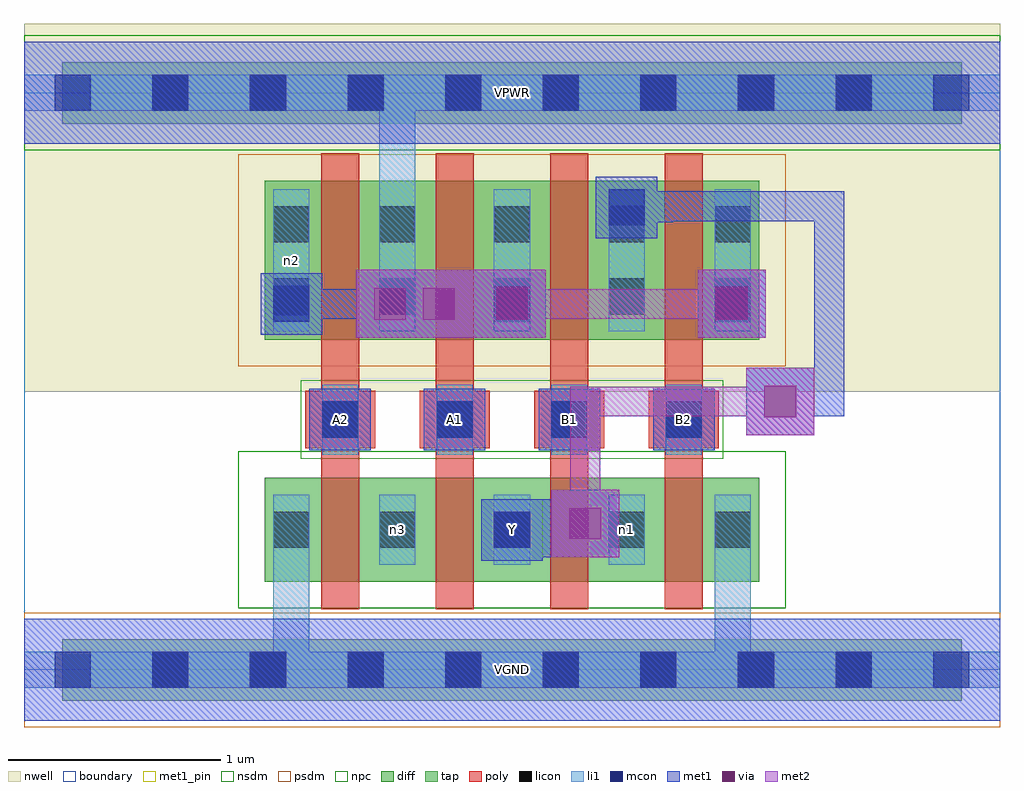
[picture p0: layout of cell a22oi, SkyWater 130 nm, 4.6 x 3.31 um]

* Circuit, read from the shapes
.subckt a22oi A1 A2 B1 B2 VGND VPWR Y n1 n2 n3
XM1 n3 A2 VGND VGND sky130_fd_pr__nfet_01v8 w=0.49 l=0.18
XM2 Y A1 n3 VGND sky130_fd_pr__nfet_01v8 w=0.49 l=0.18
XM3 n1 B1 Y VGND sky130_fd_pr__nfet_01v8 w=0.49 l=0.18
XM4 VGND B2 n1 VGND sky130_fd_pr__nfet_01v8 w=0.49 l=0.18
XM5 VPWR A2 n2 VPWR sky130_fd_pr__pfet_01v8 w=0.75 l=0.18
XM6 n2 A1 VPWR VPWR sky130_fd_pr__pfet_01v8 w=0.75 l=0.18
XM7 Y B1 n2 VPWR sky130_fd_pr__pfet_01v8 w=0.75 l=0.18
XM8 n2 B2 Y VPWR sky130_fd_pr__pfet_01v8 w=0.75 l=0.18
.ends

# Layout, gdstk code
import gdstk
lib = gdstk.Library(unit=1e-6, precision=1e-09)
def R(c, l, rs):  # rectangles x0, y0, x1, y1
    for r in rs: c.add(gdstk.rectangle(r[:2], r[2:], *l))
def A(c, l, x, y, w, h, nx, ny, dx, dy):  # array of equal rectangles
    R(c, l, [(x+i*dx, y+j*dy, x+i*dx+w, y+j*dy+h) for i in range(nx) for j in range(ny)])
nwell = (64, 20)
diff = (65, 20)
tap = (65, 44)
poly = (66, 20)
licon = (66, 44)
li1 = (67, 20)
mcon = (67, 44)
met1_pin = (68, 16)
met1 = (68, 20)
via = (68, 44)
met2 = (69, 20)
nsdm = (93, 44)
psdm = (94, 20)
npc = (95, 20)
boundary = (235, 4)

a22oi = lib.new_cell('a22oi')
R(a22oi, nwell, [(0,1.31,4.6,3.045)])
R(a22oi, diff, [(1.135,0.415,3.465,0.905), (1.135,1.555,3.465,2.305)])
R(a22oi, tap, [(0.18,-0.145,4.42,0.145), (0.18,2.575,4.42,2.865)])
A(a22oi, poly, 1.4, 0.285, 0.18, 2.15, 4, 1, 0.54, 0)
A(a22oi, poly, 1.325, 1.045, 0.33, 0.27, 4, 1, 0.54, 0)
A(a22oi, licon, 0.605, -0.085, 0.17, 0.17, 8, 2, 0.46, 2.72)
A(a22oi, licon, 1.675, 0.575, 0.17, 0.17, 3, 2, 0.54, 1.1)
A(a22oi, licon, 1.405, 1.095, 0.17, 0.17, 4, 1, 0.54, 0)
A(a22oi, licon, 1.675, 2.015, 0.17, 0.17, 3, 1, 0.54, 0)
R(a22oi, licon, [(1.175,0.575,1.345,0.745), (3.255,0.575,3.425,0.745), (1.175,1.675,1.345,1.845), (3.255,1.675,3.425,1.845), (1.175,2.015,1.345,2.185), (3.255,2.015,3.425,2.185)])
A(a22oi, li1, 1.675, 0.495, 0.17, 0.33, 3, 1, 0.54, 0)
A(a22oi, li1, 1.405, 1.015, 0.17, 0.33, 4, 1, 0.54, 0)
A(a22oi, li1, 1.675, 1.595, 0.17, 0.67, 3, 1, 0.54, 0)
R(a22oi, li1, [(0,-0.085,4.6,0.085), (1.175,-0.085,1.345,0.825), (3.255,-0.085,3.425,0.825), (1.175,0.495,1.345,0.825), (3.255,0.495,3.425,0.825), (1.175,1.595,1.345,2.265), (1.675,1.595,1.845,2.805), (3.255,1.595,3.425,2.265), (0,2.635,4.6,2.805)])
A(a22oi, mcon, 0.145, -0.085, 0.17, 0.17, 10, 2, 0.46, 2.72)
A(a22oi, mcon, 1.405, 1.095, 0.17, 0.17, 4, 1, 0.54, 0)
A(a22oi, mcon, 1.175, 1.64, 0.17, 0.17, 3, 1, 1.04, 0)
R(a22oi, mcon, [(2.215,0.575,2.385,0.745), (2.755,2.095,2.925,2.265)])
A(a22oi, met1_pin, 1.345, 1.035, 0.29, 0.29, 4, 1, 0.54, 0)
R(a22oi, met1_pin, [(0,-0.24,4.6,0.24), (2.155,0.515,2.445,0.805), (0,2.48,4.6,2.96)])
A(a22oi, met1, 1.345, 1.035, 0.29, 0.29, 4, 1, 0.54, 0)
A(a22oi, met1, 1.115, 1.58, 0.29, 0.29, 3, 1, 1.04, 0)
R(a22oi, met1, [(0,-0.24,4.6,0.24), (2.155,0.515,2.445,0.805), (2.445,0.53,2.485,0.805), (2.485,0.53,2.805,0.85), (2.23,0.62,2.715,0.76), (2.23,0.62,2.37,0.76), (3.405,1.105,3.725,1.425), (3.495,1.195,3.865,1.335), (3.725,1.195,3.865,2.255), (1.565,1.565,1.885,1.885), (1.795,1.565,2.115,1.885), (2.115,1.565,2.14,1.885), (2.14,1.565,2.46,1.885), (3.175,1.565,3.495,1.885), (2.115,1.58,2.155,1.87), (1.19,1.655,1.45,1.795), (1.31,1.655,1.795,1.795), (1.885,1.655,2.37,1.795), (3.265,1.655,3.41,1.795), (2.695,2.035,2.985,2.325), (2.77,2.11,3.06,2.25), (2.92,2.11,3.06,2.255), (2.92,2.115,3.865,2.255), (0,2.48,4.6,2.96)])
R(a22oi, via, [(2.57,0.615,2.72,0.765), (3.49,1.19,3.64,1.34), (1.65,1.65,1.8,1.8), (1.88,1.65,2.03,1.8), (2.225,1.65,2.375,1.8), (3.26,1.65,3.41,1.8)])
R(a22oi, met2, [(2.485,0.53,2.805,0.85), (2.575,0.62,2.715,1.335), (3.405,1.105,3.725,1.425), (2.575,1.195,3.635,1.335), (1.565,1.565,1.885,1.885), (1.795,1.565,2.115,1.885), (2.115,1.565,2.14,1.885), (2.14,1.565,2.46,1.885), (3.175,1.565,3.495,1.885), (1.655,1.655,2.025,1.795), (2.025,1.655,2.14,1.795), (2.115,1.655,2.23,1.795), (2.23,1.655,3.405,1.795)])
R(a22oi, nsdm, [(1.01,0.29,3.59,1.03), (0,2.45,4.6,2.99)])
R(a22oi, psdm, [(0,-0.27,4.6,0.27), (1.01,1.43,3.59,2.43)])
R(a22oi, npc, [(1.305,0.995,3.295,1.365)])
R(a22oi, boundary, [(0,0,4.6,2.72)])
a22oi.add(gdstk.Label('n3', (1.76,0.66), layer=67, texttype=5))
a22oi.add(gdstk.Label('n1', (2.84,0.66), layer=67, texttype=5))
a22oi.add(gdstk.Label('n2', (1.26,1.93), layer=67, texttype=5))
a22oi.add(gdstk.Label('A1', (2.03,1.18), layer=68, texttype=5))
a22oi.add(gdstk.Label('A2', (1.49,1.18), layer=68, texttype=5))
a22oi.add(gdstk.Label('B1', (2.57,1.18), layer=68, texttype=5))
a22oi.add(gdstk.Label('B2', (3.11,1.18), layer=68, texttype=5))
a22oi.add(gdstk.Label('Y', (2.3,0.66), layer=68, texttype=5))
a22oi.add(gdstk.Label('VPWR', (2.3,2.72), layer=68, texttype=5))
a22oi.add(gdstk.Label('VGND', (2.3,0), layer=68, texttype=5))
a22oi.add(gdstk.Label('A1', (2.03,1.18), layer=68, texttype=16))
a22oi.add(gdstk.Label('A2', (1.49,1.18), layer=68, texttype=16))
a22oi.add(gdstk.Label('B1', (2.57,1.18), layer=68, texttype=16))
a22oi.add(gdstk.Label('B2', (3.11,1.18), layer=68, texttype=16))
a22oi.add(gdstk.Label('Y', (2.3,0.66), layer=68, texttype=16))
a22oi.add(gdstk.Label('VPWR', (2.3,2.72), layer=68, texttype=16))
a22oi.add(gdstk.Label('VGND', (2.3,0), layer=68, texttype=16))

lib.write_gds('a22oi.gds')
